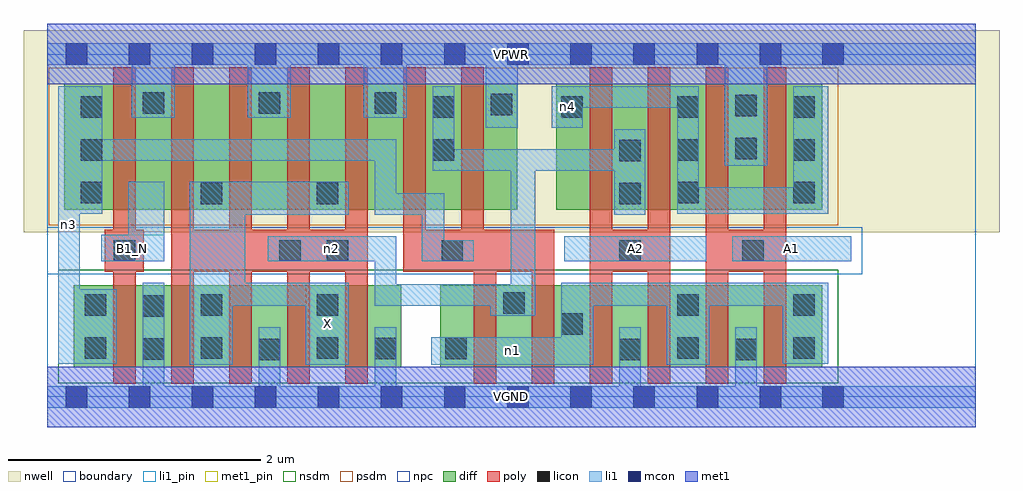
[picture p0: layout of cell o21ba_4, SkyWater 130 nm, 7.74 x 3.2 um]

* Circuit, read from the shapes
.subckt o21ba_4 A1 A2 B1_N VGND VPWR X n1 n2 n3 n4
XM1 VGND B1_N n3 VSUBS sky130_fd_pr__nfet_01v8 w=0.65 l=0.18
XM2 X n2 VGND VSUBS sky130_fd_pr__nfet_01v8 w=0.65 l=0.18 m=4
XM3 n2 n3 n1 VSUBS sky130_fd_pr__nfet_01v8 w=0.65 l=0.18 m=2
XM4 VGND A2 n1 VSUBS sky130_fd_pr__nfet_01v8 w=0.65 l=0.18 m=2
XM5 VGND A1 n1 VSUBS sky130_fd_pr__nfet_01v8 w=0.65 l=0.18 m=2
XM6 VPWR B1_N n3 n5 sky130_fd_pr__pfet_01v8 w=1 l=0.18
XM7 X n2 VPWR n5 sky130_fd_pr__pfet_01v8 w=1 l=0.18 m=4
XM8 n2 n3 VPWR n5 sky130_fd_pr__pfet_01v8 w=1 l=0.18 m=2
XM9 n2 A2 n4 n5 sky130_fd_pr__pfet_01v8 w=1 l=0.18 m=2
XM10 VPWR A1 n4 n5 sky130_fd_pr__pfet_01v8 w=1 l=0.18 m=2
.ends

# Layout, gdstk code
import gdstk
lib = gdstk.Library(unit=1e-6, precision=1e-09)
def R(c, l, rs):  # rectangles x0, y0, x1, y1
    for r in rs: c.add(gdstk.rectangle(r[:2], r[2:], *l))
def A(c, l, x, y, w, h, nx, ny, dx, dy):  # array of equal rectangles
    R(c, l, [(x+i*dx, y+j*dy, x+i*dx+w, y+j*dy+h) for i in range(nx) for j in range(ny)])
nwell = (64, 20)
diff = (65, 20)
poly = (66, 20)
licon = (66, 44)
li1_pin = (67, 16)
li1 = (67, 20)
mcon = (67, 44)
met1_pin = (68, 16)
met1 = (68, 20)
nsdm = (93, 44)
psdm = (94, 20)
npc = (95, 20)
boundary = (235, 4)

o21ba_4 = lib.new_cell('o21ba_4')
R(o21ba_4, nwell, [(-0.19,1.305,7.55,2.91), (0,1.305,7.36,2.91)])
R(o21ba_4, diff, [(0.21,0.235,2.805,0.885), (3.115,0.235,6.145,0.885), (0.135,1.485,3.725,2.485), (4.035,1.485,6.145,2.485)])
A(o21ba_4, poly, 0.52, 0.105, 0.18, 2.51, 5, 1, 0.46, 0)
A(o21ba_4, poly, 4.3, 0.105, 0.18, 2.51, 4, 1, 0.46, 0)
R(o21ba_4, poly, [(3.38,0.105,3.56,1.325), (3.84,0.105,4.02,1.325), (0.455,0.995,0.765,1.325), (0.98,0.995,2.54,1.325), (2.82,0.995,4.02,1.325), (2.82,0.995,3,2.615), (3.28,0.995,3.46,2.615), (4.3,0.995,4.94,1.325), (5.22,0.995,5.86,1.325)])
A(o21ba_4, licon, 0.295, 0.305, 0.17, 0.17, 3, 2, 0.92, 0.34)
A(o21ba_4, licon, 0.265, 1.535, 0.17, 0.17, 1, 3, 0, 0.34)
A(o21ba_4, licon, 4.075, 2.215, 0.17, 0.17, 3, 1, 0.92, 0)
A(o21ba_4, licon, 0.755, 2.245, 0.17, 0.17, 3, 1, 0.92, 0)
R(o21ba_4, licon, [(1.675,0.29,1.845,0.46), (4.535,0.29,4.705,0.46), (5.455,0.29,5.625,0.46), (0.755,0.295,0.925,0.465), (2.595,0.3,2.765,0.47), (3.155,0.3,3.325,0.47), (4.995,0.305,5.165,0.475), (5.915,0.305,6.085,0.475), (4.075,0.495,4.245,0.665), (0.755,0.635,0.925,0.805), (4.995,0.645,5.165,0.815), (5.915,0.645,6.085,0.815), (3.615,0.66,3.785,0.83), (0.525,1.075,0.695,1.245), (1.84,1.075,2.01,1.245), (2.215,1.075,2.385,1.245), (3.125,1.075,3.295,1.245), (4.535,1.075,4.705,1.245), (5.51,1.075,5.68,1.245), (1.215,1.53,1.385,1.7), (2.135,1.53,2.305,1.7), (4.535,1.53,4.705,1.7), (4.995,1.535,5.165,1.705), (5.915,1.535,6.085,1.705), (4.535,1.87,4.705,2.04), (3.055,1.875,3.225,2.045), (4.995,1.875,5.165,2.045), (5.915,1.875,6.085,2.045), (5.455,1.885,5.625,2.055), (3.055,2.215,3.225,2.385), (5.455,2.225,5.625,2.395), (3.515,2.235,3.685,2.405)])
R(o21ba_4, li1_pin, [(2.05,0.255,2.39,0.905), (0.425,1.075,0.925,1.285), (4.1,1.075,5.225,1.275), (5.43,1.075,6.375,1.275)])
A(o21ba_4, li1, 0.67, 2.215, 0.34, 0.59, 3, 1, 0.92, 0)
R(o21ba_4, li1, [(0,-0.085,7.36,0.085), (0.755,-0.085,0.925,0.905), (1.675,-0.085,1.845,0.555), (2.595,-0.085,2.765,0.555), (4.535,-0.085,4.705,0.555), (5.455,-0.085,5.625,0.555), (1.13,0.255,1.47,1.705), (2.05,0.255,2.39,0.905), (3.045,0.255,4.33,0.475), (4.075,0.255,4.33,0.905), (4.91,0.255,5.25,0.905), (0.085,0.265,0.255,2.465), (0.085,0.265,0.55,0.855), (5.83,0.265,6.19,0.905), (3.51,0.645,3.87,0.895), (3.675,0.645,3.87,1.965), (1.13,0.725,2.39,0.905), (1.13,0.725,1.57,1.705), (2.595,0.725,3.87,0.895), (2.595,0.725,2.765,1.275), (4.075,0.725,6.19,0.905), (0.425,1.075,0.925,1.285), (0.64,1.075,0.925,1.705), (1.745,1.075,2.765,1.275), (2.97,1.075,3.145,1.615), (2.97,1.075,3.38,1.245), (4.1,1.075,5.225,1.275), (5.43,1.075,6.375,1.275), (1.13,1.445,2.39,1.705), (2.595,1.445,2.765,2.045), (2.595,1.445,3.145,1.615), (4.495,1.445,4.74,2.125), (0.085,1.455,0.435,2.465), (4.995,1.455,6.19,1.665), (4.995,1.455,5.165,2.465), (5.915,1.455,6.19,2.465), (3.055,1.795,4.74,1.965), (3.055,1.795,3.225,2.465), (5.37,1.835,5.71,2.805), (0.085,1.875,2.765,2.045), (3.475,2.135,3.73,2.805), (4,2.135,4.245,2.465), (4,2.295,5.165,2.465), (0,2.635,7.36,2.805)])
A(o21ba_4, mcon, 0.145, -0.085, 0.17, 0.17, 10, 2, 0.5, 2.72)
R(o21ba_4, mcon, [(5.15,-0.085,5.32,0.085), (5.65,-0.085,5.82,0.085), (6.145,-0.085,6.315,0.085), (5.15,2.635,5.32,2.805), (5.65,2.635,5.82,2.805), (6.145,2.635,6.315,2.805)])
R(o21ba_4, met1_pin, [(0,-0.24,7.36,0.24), (0,2.48,7.36,2.96)])
R(o21ba_4, met1, [(0,-0.24,7.36,0.24), (0,2.48,7.36,2.96)])
R(o21ba_4, nsdm, [(0.085,0.11,6.27,1.01)])
R(o21ba_4, psdm, [(0.01,1.36,6.27,2.61)])
R(o21ba_4, npc, [(0,0.975,6.46,1.345)])
R(o21ba_4, boundary, [(0,0,7.36,2.72)])
o21ba_4.add(gdstk.Label('A1', (5.902,1.175), layer=67, texttype=5))
o21ba_4.add(gdstk.Label('A2', (4.662,1.175), layer=67, texttype=5))
o21ba_4.add(gdstk.Label('B1_N', (0.675,1.18), layer=67, texttype=5))
o21ba_4.add(gdstk.Label('X', (2.22,0.58), layer=67, texttype=5))
o21ba_4.add(gdstk.Label('n1', (3.687,0.365), layer=67, texttype=5))
o21ba_4.add(gdstk.Label('n3', (0.17,1.365), layer=67, texttype=5))
o21ba_4.add(gdstk.Label('n2', (2.255,1.175), layer=67, texttype=5))
o21ba_4.add(gdstk.Label('n4', (4.122,2.3), layer=67, texttype=5))
o21ba_4.add(gdstk.Label('VPWR', (3.68,2.72), layer=68, texttype=5))
o21ba_4.add(gdstk.Label('VGND', (3.68,0), layer=68, texttype=5))
o21ba_4.add(gdstk.Label('A1', (5.902,1.175), layer=67, texttype=16))
o21ba_4.add(gdstk.Label('A2', (4.662,1.175), layer=67, texttype=16))
o21ba_4.add(gdstk.Label('B1_N', (0.675,1.18), layer=67, texttype=16))
o21ba_4.add(gdstk.Label('X', (2.22,0.58), layer=67, texttype=16))
o21ba_4.add(gdstk.Label('VPWR', (3.68,2.72), layer=68, texttype=16))
o21ba_4.add(gdstk.Label('VGND', (3.68,0), layer=68, texttype=16))

lib.write_gds('o21ba_4.gds')
